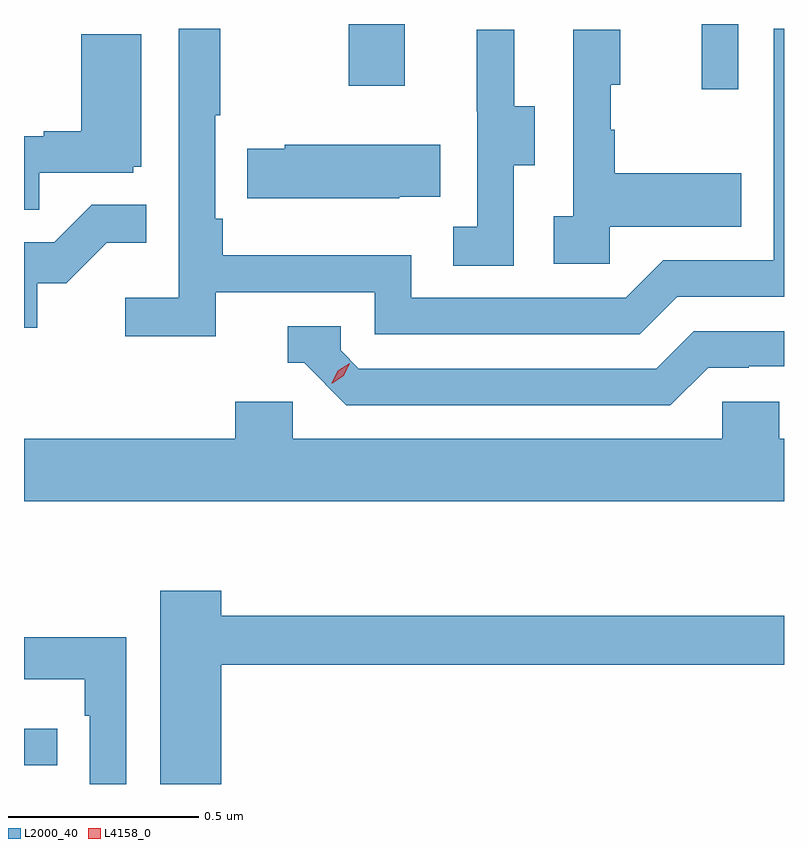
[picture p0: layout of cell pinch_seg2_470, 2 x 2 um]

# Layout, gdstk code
import gdstk
lib = gdstk.Library(unit=1e-6, precision=1e-09)
def R(c, l, rs):  # rectangles x0, y0, x1, y1
    for r in rs: c.add(gdstk.rectangle(r[:2], r[2:], *l))
def P(c, l, *ps):  # polygons
    for p in ps: c.add(gdstk.Polygon(p, *l))
L2000_40 = (2000, 40)
L4158_0 = (4158, 0)

pinch_seg2_470 = lib.new_cell('pinch_seg2_470')
R(pinch_seg2_470, L2000_40, [(913.111,588.333,913.198,588.429), (914.894,590.112,914.991,590.284), (913.966,590.121,914.113,590.284)])
P(pinch_seg2_470, L2000_40, [(913.616,589.578),(914.034,589.578),(914.034,589.467),(914.731,589.467),(914.83,589.566),(915.111,589.566),(915.111,590.271),(915.084,590.271),(915.084,589.662),(914.793,589.662),(914.694,589.563),(914.13,589.563),(914.13,589.675),(913.634,589.675),(913.634,589.771),(913.614,589.771),(913.614,590.044),(913.627,590.044),(913.627,590.272),(913.518,590.272),(913.518,589.564),(913.377,589.564),(913.377,589.462),(913.616,589.462)],
  [(914.4,589.912),(914.455,589.912),(914.455,590.067),(914.401,590.067),(914.401,590.269),(914.303,590.269),(914.303,590.055),(914.304,590.055),(914.304,589.751),(914.241,589.751),(914.241,589.648),(914.4,589.648)],
  [(914.652,589.751),(914.999,589.751),(914.999,589.891),(914.665,589.891),(914.665,590.006),(914.655,590.006),(914.655,590.124),(914.68,590.124),(914.68,590.269),(914.556,590.269),(914.556,589.778),(914.505,589.778),(914.505,589.653),(914.652,589.653)],
  [(913.151,589.893),(913.398,589.893),(913.398,589.908),(913.42,589.908),(913.42,590.257),(913.262,590.257),(913.262,590.002),(913.163,590.002),(913.163,589.989),(913.111,589.989),(913.111,589.795),(913.151,589.795)],
  [(914.099,589.829),(914.207,589.829),(914.207,589.966),(913.797,589.966),(913.797,589.956),(913.699,589.956),(913.699,589.826),(914.099,589.826)],
  [(913.146,589.602),(913.222,589.602),(913.329,589.709),(913.433,589.709),(913.433,589.808),(913.289,589.808),(913.191,589.71),(913.111,589.71),(913.111,589.485),(913.146,589.485)],
  [(914.911,589.38),(915.018,589.38),(915.018,589.383),(915.111,589.383),(915.111,589.476),(914.874,589.476),(914.775,589.377),(913.992,589.377),(913.944,589.425),(913.944,589.488),(913.805,589.488),(913.805,589.392),(913.848,589.392),(913.959,589.281),(914.812,589.281)],
  [(915.111,589.192),(915.099,589.192),(915.099,589.29),(914.949,589.29),(914.949,589.192),(913.818,589.192),(913.818,589.29),(913.667,589.29),(913.667,589.192),(913.111,589.192),(913.111,589.028),(915.111,589.028)],
  [(913.63,588.598),(915.111,588.598),(915.111,588.727),(913.63,588.727),(913.63,588.793),(913.469,588.793),(913.469,588.284),(913.63,588.284)],
  [(913.38,588.67),(913.111,588.67),(913.111,588.56),(913.271,588.56),(913.271,588.464),(913.284,588.464),(913.284,588.284),(913.38,588.284)])
P(pinch_seg2_470, L4158_0, [(913.921,589.338),(913.921,589.338),(913.937,589.371),(913.968,589.391),(913.968,589.391),(913.968,589.39),(913.952,589.358),(913.922,589.338)])

lib.write_gds('pinch_seg2_470.gds')
